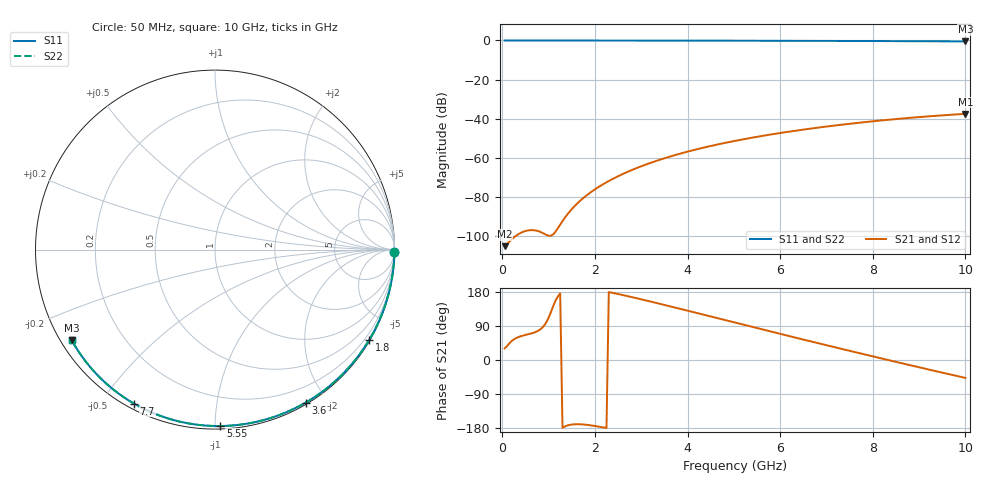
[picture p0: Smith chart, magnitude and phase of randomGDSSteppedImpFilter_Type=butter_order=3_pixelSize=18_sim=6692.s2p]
! freq	dB(S11)	phase(S11)	dB(S12)	phase(S12)
!  dB(S21)	phase(S21)	dB(S22)	phase(S22)
!S-par simulation data
#  GHz  S  DB  R 50
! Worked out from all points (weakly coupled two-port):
!   200 points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, 50 MHz to 10 GHz, reference 50 ohm
!   highest |S21| = -37.48 dB at 10 GHz (marker M1); lowest = -105.1 dB at 50 MHz (marker M2)
!   lowest |S11| = -0.5 dB at 10 GHz (marker M3), VSWR 34.99, Z = 1.55 - j14.4 ohm
!   |S11| at or under -10 dB: nowhere
!   |S22| runs from -0.5 to 0.0 dB; largest |S21 - S12| = 0
!   S11 on the Smith chart (normalised r, x): 50 MHz: open; 1.8 GHz: 0.03, -3.68; 3.6 GHz: 0.02, -1.76; 5.55 GHz: 0.02, -1.03; 7.7 GHz: 0.02, -0.60; 10 GHz: 0.03, -0.29
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0.05  -0.00 -0.9  -105.06 30.5  -105.06 30.5  -0.00 -0.9
0.45  -0.01 -7.7  -97.73 64.6  -97.73 64.6  -0.01 -7.7
0.9  -0.02 -15.4  -98.66 90.3  -98.66 90.3  -0.02 -15.4
1.3  -0.03 -22.1  -92.26 -179.2  -92.26 -179.2  -0.03 -22.1
1.75  -0.04 -29.6  -80.46 -170.2  -80.46 -170.2  -0.04 -29.6
1.8  -0.04 -30.4  -79.49 -170.8  -79.49 -170.8  -0.04 -30.4
1.95  -0.04 -32.9  -76.85 -173.1  -76.85 -173.1  -0.04 -32.9
2.1  -0.05 -35.4  -74.53 -176.1  -74.53 -176.1  -0.05 -35.4
2.3  -0.05 -38.6  -71.78 179.3  -71.78 179.3  -0.05 -38.6
2.5  -0.05 -41.9  -69.34 174.1  -69.34 174.1  -0.05 -41.9
2.9  -0.06 -48.3  -65.18 163.1  -65.18 163.1  -0.06 -48.3
3.4  -0.07 -56.2  -60.93 148.4  -60.93 148.4  -0.07 -56.2
3.6  -0.08 -59.3  -59.45 142.3  -59.45 142.3  -0.08 -59.3
4.3  -0.10 -70.0  -55.00 121.0  -55.00 121.0  -0.10 -70.0
5.05  -0.12 -81.1  -51.16 97.9  -51.16 97.9  -0.12 -81.1
5.55  -0.14 -88.3  -49.00 82.6  -49.00 82.6  -0.14 -88.3
6.1  -0.17 -96.0  -46.90 66.0  -46.90 66.0  -0.17 -96.0
6.7  -0.20 -104.3  -44.88 47.9  -44.88 47.9  -0.20 -104.3
7.7  -0.27 -117.7  -42.03 18.3  -42.03 18.3  -0.27 -117.7
8.35  -0.32 -126.3  -40.47 -0.6  -40.47 -0.6  -0.32 -126.3
9.2  -0.41 -137.3  -38.76 -25.0  -38.76 -25.0  -0.41 -137.3
10  -0.50 -147.7  -37.48 -47.2  -37.48 -47.2  -0.50 -147.7
